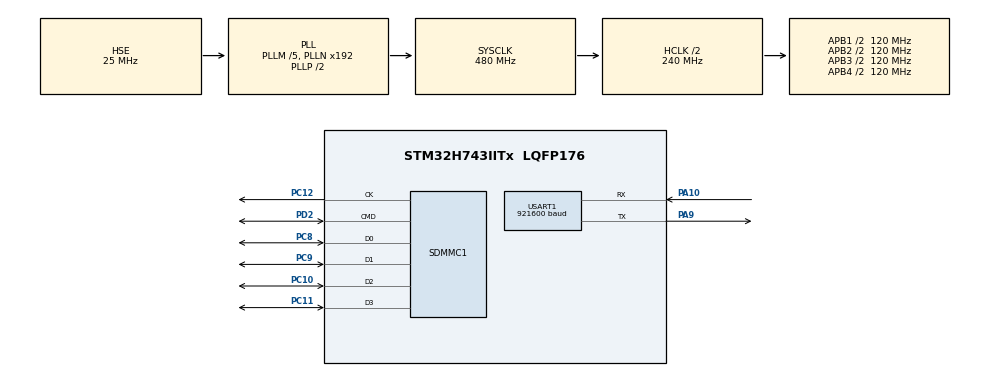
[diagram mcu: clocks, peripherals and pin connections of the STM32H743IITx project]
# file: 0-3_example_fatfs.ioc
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Dma.Request0=USART1_RX
Dma.Request1=USART1_TX
Dma.USART1_RX.0.Direction=DMA_PERIPH_TO_MEMORY
Dma.USART1_RX.0.EventEnable=DISABLE
Dma.USART1_RX.0.FIFOMode=DMA_FIFOMODE_DISABLE
Dma.USART1_RX.0.Instance=DMA1_Stream0
Dma.USART1_RX.0.MemDataAlignment=DMA_MDATAALIGN_BYTE
Dma.USART1_RX.0.MemInc=DMA_MINC_ENABLE
Dma.USART1_RX.0.Mode=DMA_NORMAL
Dma.USART1_RX.0.PeriphDataAlignment=DMA_PDATAALIGN_BYTE
Dma.USART1_RX.0.PeriphInc=DMA_PINC_DISABLE
Dma.USART1_RX.0.Polarity=HAL_DMAMUX_REQ_GEN_RISING
Dma.USART1_RX.0.Priority=DMA_PRIORITY_LOW
Dma.USART1_RX.0.RequestNumber=1
Dma.USART1_RX.0.SignalID=NONE
Dma.USART1_RX.0.SyncEnable=DISABLE
Dma.USART1_RX.0.SyncPolarity=HAL_DMAMUX_SYNC_NO_EVENT
Dma.USART1_RX.0.SyncRequestNumber=1
Dma.USART1_RX.0.SyncSignalID=NONE
Dma.USART1_TX.1.Direction=DMA_MEMORY_TO_PERIPH
Dma.USART1_TX.1.EventEnable=DISABLE
Dma.USART1_TX.1.FIFOMode=DMA_FIFOMODE_DISABLE
Dma.USART1_TX.1.Instance=DMA1_Stream1
Dma.USART1_TX.1.MemDataAlignment=DMA_MDATAALIGN_BYTE
Dma.USART1_TX.1.MemInc=DMA_MINC_ENABLE
Dma.USART1_TX.1.Mode=DMA_NORMAL
Dma.USART1_TX.1.PeriphDataAlignment=DMA_PDATAALIGN_BYTE
Dma.USART1_TX.1.PeriphInc=DMA_PINC_DISABLE
Dma.USART1_TX.1.Polarity=HAL_DMAMUX_REQ_GEN_RISING
Dma.USART1_TX.1.Priority=DMA_PRIORITY_LOW
Dma.USART1_TX.1.RequestNumber=1
Dma.USART1_TX.1.SignalID=NONE
Dma.USART1_TX.1.SyncEnable=DISABLE
Dma.USART1_TX.1.SyncPolarity=HAL_DMAMUX_SYNC_NO_EVENT
Dma.USART1_TX.1.SyncRequestNumber=1
Dma.USART1_TX.1.SyncSignalID=NONE
FATFS._CODE_PAGE=936
FATFS._FS_EXFAT=1
FATFS._FS_RPATH=2
FATFS._LFN_UNICODE=1
FATFS._MULTI_PARTITION=0
FATFS._USE_LFN=3
FATFS._USE_TRIM=1
Mcu.Family=STM32H7
Mcu.Name=STM32H743IITx
Mcu.Package=LQFP176
NVIC.DMA1_Stream0_IRQn=true\:0\:0\:false\:false\:true\:false\:true\:true
NVIC.DMA1_Stream1_IRQn=true\:0\:0\:false\:false\:true\:false\:true\:true
NVIC.PriorityGroup=NVIC_PRIORITYGROUP_4
NVIC.SDMMC1_IRQn=true\:1\:0\:true\:false\:true\:true\:true\:true
NVIC.USART1_IRQn=true\:0\:0\:false\:false\:true\:true\:true\:true
PA10.GPIO_Speed=GPIO_SPEED_FREQ_HIGH
PA10.Mode=Asynchronous
PA10.Signal=USART1_RX
PA13\ (JTMS/SWDIO).Mode=Serial_Wire
PA13\ (JTMS/SWDIO).Signal=DEBUG_JTMS-SWDIO
PA14\ (JTCK/SWCLK).Mode=Serial_Wire
PA14\ (JTCK/SWCLK).Signal=DEBUG_JTCK-SWCLK
PA9.GPIO_Speed=GPIO_SPEED_FREQ_HIGH
PA9.Mode=Asynchronous
PA9.Signal=USART1_TX
PC10.Mode=SD_4_bits_Wide_bus
PC10.Signal=SDMMC1_D2
PC11.Mode=SD_4_bits_Wide_bus
PC11.Signal=SDMMC1_D3
PC12.Mode=SD_4_bits_Wide_bus
PC12.Signal=SDMMC1_CK
PC14-OSC32_IN\ (OSC32_IN).Mode=LSE-External-Oscillator
PC14-OSC32_IN\ (OSC32_IN).Signal=RCC_OSC32_IN
PC15-OSC32_OUT\ (OSC32_OUT).Mode=LSE-External-Oscillator
PC15-OSC32_OUT\ (OSC32_OUT).Signal=RCC_OSC32_OUT
PC8.Mode=SD_4_bits_Wide_bus
PC8.Signal=SDMMC1_D0
PC9.Mode=SD_4_bits_Wide_bus
PC9.Signal=SDMMC1_D1
PD2.Mode=SD_4_bits_Wide_bus
PD2.Signal=SDMMC1_CMD
PH0-OSC_IN\ (PH0).Mode=HSE-External-Oscillator
PH0-OSC_IN\ (PH0).Signal=RCC_OSC_IN
PH1-OSC_OUT\ (PH1).Mode=HSE-External-Oscillator
PH1-OSC_OUT\ (PH1).Signal=RCC_OSC_OUT
ProjectManager.HeapSize=0x400
ProjectManager.StackSize=0x800
ProjectManager.TargetToolchain=STM32CubeIDE
RCC.ADCFreq_Value=400000000
RCC.APB1Freq_Value=120000000
RCC.APB2Freq_Value=120000000
RCC.APB3Freq_Value=120000000
RCC.APB4Freq_Value=120000000
RCC.CortexFreq_Value=480000000
RCC.D1PPRE=RCC_APB3_DIV2
RCC.D2PPRE1=RCC_APB1_DIV2
RCC.D2PPRE2=RCC_APB2_DIV2
RCC.D3PPRE=RCC_APB4_DIV2
RCC.DIVM1=5
RCC.DIVM2=5
RCC.DIVM3=5
RCC.DIVN1=192
RCC.DIVN2=160
RCC.DIVN3=192
RCC.DIVQ1=15
RCC.DIVQ2=4
RCC.DIVQ3=4
RCC.DIVR2=4
RCC.HCLKFreq_Value=240000000
RCC.HPRE=RCC_HCLK_DIV2
RCC.PLLSourceVirtual=RCC_PLLSOURCE_HSE
RCC.RTCClockSelection=RCC_RTCCLKSOURCE_LSE
RCC.SYSCLKFreq_VALUE=480000000
RCC.SYSCLKSource=RCC_SYSCLKSOURCE_PLLCLK
RCC.USBFreq_Value=64000000
RTC.Date=29
RTC.Format=RTC_FORMAT_BIN
RTC.Hours=13
RTC.Minutes=33
RTC.Month=RTC_MONTH_JULY
RTC.Seconds=33
RTC.WeekDay=RTC_WEEKDAY_TUESDAY
RTC.Year=25
SDMMC1.ClockDiv=8
SDMMC1.TransceiverPresent=SDMMC_TRANSCEIVER_NOT_PRESENT
USART1.BaudRate=921600
USART1.VirtualMode-Asynchronous=VM_ASYNC
VP_FATFS_VS_SDIO.Mode=SDIO
VP_MEMORYMAP_VS_MEMORYMAP.Mode=CurAppReg
VP_RTC_VS_RTC_Activate.Mode=RTC_Enabled
VP_RTC_VS_RTC_Calendar.Mode=RTC_Calendar
board=custom

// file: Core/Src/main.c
/* USER CODE BEGIN Header */
/**
  ******************************************************************************
  * @file           : main.c
  * @brief          : Main program body
  ******************************************************************************
  * @attention
  *
  * Copyright (c) 2025 STMicroelectronics.
  * All rights reserved.
  *
  * This software is licensed under terms that can be found in the LICENSE file
  * in the root directory of this software component.
  * If no LICENSE file comes with this software, it is provided AS-IS.
  *
  ******************************************************************************
  */
/* USER CODE END Header */
#include "main.h"
#include "dma.h"
#include "fatfs.h"
#include "rtc.h"
#include "sdmmc.h"
#include "usart.h"
#include "gpio.h"

/* USER CODE BEGIN Includes */
//#define NDEBUG
#include "string.h"
#include "sys/sys.h"
#include "delay/delay.h"
#include "usart/retarget.h"

//app
#include "SDCARD_test/SDCARD_test.h"
#include "FATFS_test/FATFS_test.h"
/* USER CODE END Includes */

/* USER CODE BEGIN PV */
char receivData[50] = {0}; //存放接收内容(记得初始化)
uint8_t dataReady = 0; //发送标志位

/* USER CODE END PV */

void SystemClock_Config(void);

/* USER CODE BEGIN PFP */

//重定义'串口事件回调'函数
void HAL_UARTEx_RxEventCallback(UART_HandleTypeDef *huart, uint16_t Size) {
    if (huart == &huart1) {
        dataReady = 1; //在主函数里处理发送

        //处理数据...

        HAL_UARTEx_ReceiveToIdle_DMA(&huart1, (uint8_t *) receivData, 50);
    }
}

/* USER CODE END PFP */

int main(void) {

    /* MCU Configuration--------------------------------------------------------*/

    /* Reset of all peripherals, Initializes the Flash interface and the Systick. */
    HAL_Init();

    /* Configure the system clock */
    SystemClock_Config();

    /* Initialize all configured peripherals */
    MX_GPIO_Init();
    MX_DMA_Init();
    MX_SDMMC1_SD_Init();
    MX_USART1_UART_Init();
    MX_RTC_Init();
    MX_FATFS_Init();
    /* USER CODE BEGIN 2 */
    delay_init(480);
    RetargetInit(&huart1);
    HAL_UARTEx_ReceiveToIdle_DMA(&huart1, (uint8_t *) receivData, 50);
#ifndef NDEBUG
    printf("\r\n\r\nPrintf init success !!!\r\n");
#endif

#if 0
    /* SD卡测试 ,测试最大频率为 (240)/2*(8) = 15MHZ*/
    printf(" ==================== SDcard test ==================== \r\n");

    SDCard_ShowInfo();

    SDCard_EraseBlocks(0, 10);

    SDCard_TestWrite();

    SDCard_TestRead();

    printf("SD:%lu\r\n", HAL_SD_GetCardState(&hsd1));
    printf(" ==================== SDtest cplt ==================== \r\n");
#endif

    fatfs_test();
    /* USER CODE END 2 */

    /* Infinite loop */
    /* USER CODE BEGIN WHILE */
    while (1) {
        if (dataReady) {
            HAL_UART_Transmit_DMA(&huart1, (uint8_t *) receivData, strlen(receivData));
            dataReady = 0;
        }

        /* USER CODE END WHILE */

    }
}

void SystemClock_Config(void) {
    RCC_OscInitTypeDef RCC_OscInitStruct = {0};
    RCC_ClkInitTypeDef RCC_ClkInitStruct = {0};

    /** Supply configuration update enable
    */
    HAL_PWREx_ConfigSupply(PWR_LDO_SUPPLY);

    /** Configure the main internal regulator output voltage
    */
    __HAL_PWR_VOLTAGESCALING_CONFIG(PWR_REGULATOR_VOLTAGE_SCALE0);

    while (!__HAL_PWR_GET_FLAG(PWR_FLAG_VOSRDY)) {
    }

    /** Configure LSE Drive Capability
    */
    HAL_PWR_EnableBkUpAccess();
    __HAL_RCC_LSEDRIVE_CONFIG(RCC_LSEDRIVE_LOW);

    /** Initializes the RCC Oscillators according to the specified parameters
    * in the RCC_OscInitTypeDef structure.
    */
    RCC_OscInitStruct.OscillatorType = RCC_OSCILLATORTYPE_HSE | RCC_OSCILLATORTYPE_LSE;
    RCC_OscInitStruct.HSEState = RCC_HSE_ON;
    RCC_OscInitStruct.LSEState = RCC_LSE_ON;
    RCC_OscInitStruct.PLL.PLLState = RCC_PLL_ON;
    RCC_OscInitStruct.PLL.PLLSource = RCC_PLLSOURCE_HSE;
    RCC_OscInitStruct.PLL.PLLM = 5;
    RCC_OscInitStruct.PLL.PLLN = 192;
    RCC_OscInitStruct.PLL.PLLP = 2;
    RCC_OscInitStruct.PLL.PLLQ = 15;
    RCC_OscInitStruct.PLL.PLLR = 2;
    RCC_OscInitStruct.PLL.PLLRGE = RCC_PLL1VCIRANGE_2;
    RCC_OscInitStruct.PLL.PLLVCOSEL = RCC_PLL1VCOWIDE;
    RCC_OscInitStruct.PLL.PLLFRACN = 0;
    if (HAL_RCC_OscConfig(&RCC_OscInitStruct) != HAL_OK) {
        Error_Handler();
    }

    /** Initializes the CPU, AHB and APB buses clocks
    */
    RCC_ClkInitStruct.ClockType = RCC_CLOCKTYPE_HCLK | RCC_CLOCKTYPE_SYSCLK
                                  | RCC_CLOCKTYPE_PCLK1 | RCC_CLOCKTYPE_PCLK2
                                  | RCC_CLOCKTYPE_D3PCLK1 | RCC_CLOCKTYPE_D1PCLK1;
    RCC_ClkInitStruct.SYSCLKSource = RCC_SYSCLKSOURCE_PLLCLK;
    RCC_ClkInitStruct.SYSCLKDivider = RCC_SYSCLK_DIV1;
    RCC_ClkInitStruct.AHBCLKDivider = RCC_HCLK_DIV2;
    RCC_ClkInitStruct.APB3CLKDivider = RCC_APB3_DIV2;
    RCC_ClkInitStruct.APB1CLKDivider = RCC_APB1_DIV2;
    RCC_ClkInitStruct.APB2CLKDivider = RCC_APB2_DIV2;
    RCC_ClkInitStruct.APB4CLKDivider = RCC_APB4_DIV2;

    if (HAL_RCC_ClockConfig(&RCC_ClkInitStruct, FLASH_LATENCY_4) != HAL_OK) {
        Error_Handler();
    }
}

void Error_Handler(void) {
    __disable_irq();
    while (1) {
    }
}
